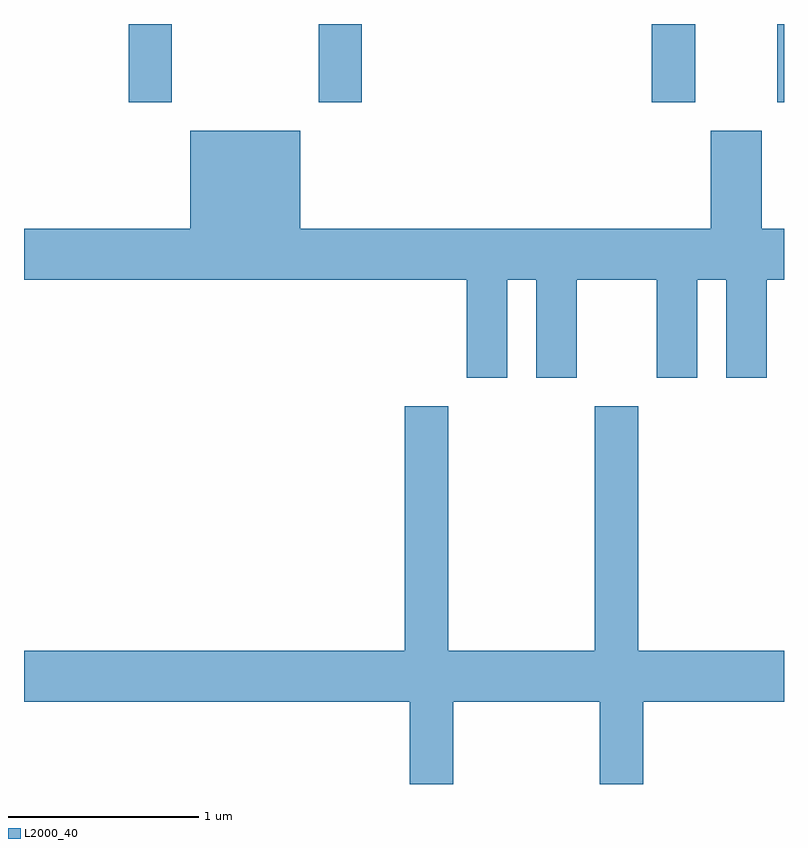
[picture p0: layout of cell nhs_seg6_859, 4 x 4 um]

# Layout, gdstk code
import gdstk
lib = gdstk.Library(unit=1e-6, precision=1e-09)
def R(c, l, rs):  # rectangles x0, y0, x1, y1
    for r in rs: c.add(gdstk.rectangle(r[:2], r[2:], *l))
def P(c, l, *ps):  # polygons
    for p in ps: c.add(gdstk.Polygon(p, *l))
L2000_40 = (2000, 40)

nhs_seg6_859 = lib.new_cell('nhs_seg6_859')
R(nhs_seg6_859, L2000_40, [(210.161,1659.751,210.389,1660.162), (211.161,1659.751,211.389,1660.162), (212.916,1659.751,213.144,1660.162), (213.576,1659.751,213.611,1660.162)])
P(nhs_seg6_859, L2000_40, [(212.154,1658.816),(212.306,1658.816),(212.306,1658.301),(212.519,1658.301),(212.519,1658.816),(212.941,1658.816),(212.941,1658.301),(213.154,1658.301),(213.154,1658.816),(213.306,1658.816),(213.306,1658.301),(213.519,1658.301),(213.519,1658.816),(213.611,1658.816),(213.611,1659.084),(213.494,1659.084),(213.494,1659.599),(213.226,1659.599),(213.226,1659.084),(211.064,1659.084),(211.064,1659.599),(210.486,1659.599),(210.486,1659.084),(209.611,1659.084),(209.611,1658.816),(211.941,1658.816),(211.941,1658.301),(212.154,1658.301)],
  [(211.869,1656.596),(212.641,1656.596),(212.641,1656.162),(212.869,1656.162),(212.869,1656.596),(213.611,1656.596),(213.611,1656.864),(212.844,1656.864),(212.844,1658.149),(212.616,1658.149),(212.616,1656.864),(211.844,1656.864),(211.844,1658.149),(211.616,1658.149),(211.616,1656.864),(209.611,1656.864),(209.611,1656.596),(211.641,1656.596),(211.641,1656.162),(211.869,1656.162)])

lib.write_gds('nhs_seg6_859.gds')
